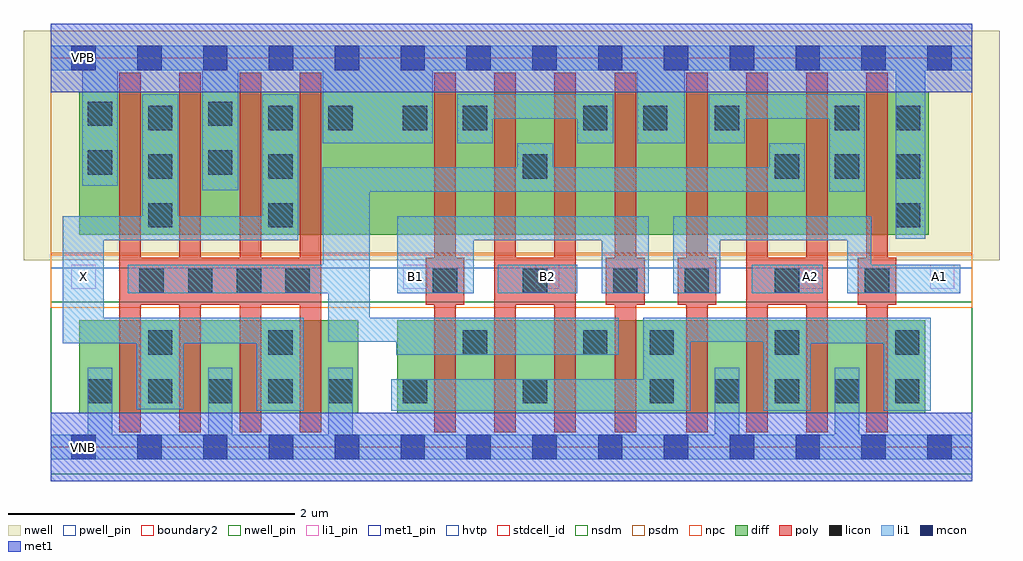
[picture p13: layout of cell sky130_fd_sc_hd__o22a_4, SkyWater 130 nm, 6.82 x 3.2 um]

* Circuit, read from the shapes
.subckt sky130_fd_sc_hd__o22a_4 A1 A2 B1 B2 VGND VNB VPB VPWR X
XM1 X n1 VGND VNB sky130_fd_pr__nfet_01v8 w=0.65 l=0.15 m=4
XM2 n1 B1 n2 VNB sky130_fd_pr__nfet_01v8 w=0.65 l=0.15 m=2
XM3 n2 B2 n1 VNB sky130_fd_pr__nfet_01v8 w=0.65 l=0.15 m=2
XM4 VGND A1 n2 VNB sky130_fd_pr__nfet_01v8 w=0.65 l=0.15 m=2
XM5 n2 A2 VGND VNB sky130_fd_pr__nfet_01v8 w=0.65 l=0.15 m=2
XM6 X n1 VPWR VPB sky130_fd_pr__pfet_01v8_hvt w=1 l=0.15 m=4
XM7 n3 B1 VPWR VPB sky130_fd_pr__pfet_01v8_hvt w=1 l=0.15 m=2
XM8 n1 B2 n3 VPB sky130_fd_pr__pfet_01v8_hvt w=1 l=0.15 m=2
XM9 n4 A1 VPWR VPB sky130_fd_pr__pfet_01v8_hvt w=1 l=0.15 m=2
XM10 n1 A2 n4 VPB sky130_fd_pr__pfet_01v8_hvt w=1 l=0.15 m=2
.ends

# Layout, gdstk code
import gdstk
lib = gdstk.Library(unit=1e-6, precision=1e-09)
def R(c, l, rs):  # rectangles x0, y0, x1, y1
    for r in rs: c.add(gdstk.rectangle(r[:2], r[2:], *l))
def A(c, l, x, y, w, h, nx, ny, dx, dy):  # array of equal rectangles
    R(c, l, [(x+i*dx, y+j*dy, x+i*dx+w, y+j*dy+h) for i in range(nx) for j in range(ny)])
def P(c, l, *ps):  # polygons
    for p in ps: c.add(gdstk.Polygon(p, *l))
nwell_pin = (64, 16)
nwell = (64, 20)
diff = (65, 20)
poly = (66, 20)
licon = (66, 44)
li1_pin = (67, 16)
li1 = (67, 20)
mcon = (67, 44)
met1_pin = (68, 16)
met1 = (68, 20)
hvtp = (78, 44)
stdcell_id = (81, 4)
nsdm = (93, 44)
psdm = (94, 20)
npc = (95, 20)
pwell_pin = (122, 16)
boundary2 = (236, 0)

sky130_fd_sc_hd__o22a_4 = lib.new_cell('sky130_fd_sc_hd__o22a_4')
R(sky130_fd_sc_hd__o22a_4, nwell_pin, [(0.145,2.635,0.315,2.805)])
R(sky130_fd_sc_hd__o22a_4, nwell, [(-0.19,1.305,6.63,2.91)])
R(sky130_fd_sc_hd__o22a_4, diff, [(0.2,0.235,2.15,0.885), (2.42,0.235,6.11,0.885), (0.2,1.485,6.135,2.485)])
P(sky130_fd_sc_hd__o22a_4, poly, [(2.89,1.325),(2.83,1.325),(2.83,2.615),(2.68,2.615),(2.68,1.325),(2.62,1.325),(2.62,0.995),(2.68,0.995),(2.68,0.105),(2.83,0.105),(2.83,0.995),(2.89,0.995)],
  [(3.67,2.615),(3.52,2.615),(3.52,1.325),(3.25,1.325),(3.25,2.615),(3.1,2.615),(3.1,0.105),(3.25,0.105),(3.25,0.995),(3.52,0.995),(3.52,0.105),(3.67,0.105)],
  [(4.65,1.325),(4.59,1.325),(4.59,2.615),(4.44,2.615),(4.44,1.325),(4.38,1.325),(4.38,0.995),(4.44,0.995),(4.44,0.105),(4.59,0.105),(4.59,0.995),(4.65,0.995)],
  [(5.91,1.325),(5.85,1.325),(5.85,2.615),(5.7,2.615),(5.7,1.325),(5.64,1.325),(5.64,0.995),(5.7,0.995),(5.7,0.105),(5.85,0.105),(5.85,0.995),(5.91,0.995)],
  [(1.89,2.615),(1.74,2.615),(1.74,1.325),(1.47,1.325),(1.47,2.615),(1.32,2.615),(1.32,1.325),(1.05,1.325),(1.05,2.615),(0.9,2.615),(0.9,1.325),(0.63,1.325),(0.63,2.615),(0.48,2.615),(0.48,0.105),(0.63,0.105),(0.63,0.995),(0.9,0.995),(0.9,0.105),(1.05,0.105),(1.05,0.995),(1.32,0.995),(1.32,0.105),(1.47,0.105),(1.47,0.995),(1.74,0.995),(1.74,0.105),(1.89,0.105)],
  [(4.15,1.325),(4.09,1.325),(4.09,2.615),(3.94,2.615),(3.94,1.325),(3.88,1.325),(3.88,0.995),(3.94,0.995),(3.94,0.105),(4.09,0.105),(4.09,0.995),(4.15,0.995)],
  [(5.43,2.615),(5.28,2.615),(5.28,1.325),(5.01,1.325),(5.01,2.615),(4.86,2.615),(4.86,0.105),(5.01,0.105),(5.01,0.995),(5.28,0.995),(5.28,0.105),(5.43,0.105)])
A(sky130_fd_sc_hd__o22a_4, licon, 0.26, 0.305, 0.17, 0.17, 5, 1, 0.42, 0)
A(sky130_fd_sc_hd__o22a_4, licon, 4.64, 0.305, 0.17, 0.17, 4, 1, 0.42, 0)
A(sky130_fd_sc_hd__o22a_4, licon, 0.62, 1.075, 0.17, 0.17, 4, 1, 0.34, 0)
A(sky130_fd_sc_hd__o22a_4, licon, 2.67, 1.075, 0.17, 0.17, 3, 1, 0.63, 0)
A(sky130_fd_sc_hd__o22a_4, licon, 4.43, 1.075, 0.17, 0.17, 3, 1, 0.63, 0)
A(sky130_fd_sc_hd__o22a_4, licon, 0.68, 1.535, 0.17, 0.17, 1, 3, 0, 0.34)
A(sky130_fd_sc_hd__o22a_4, licon, 1.52, 1.535, 0.17, 0.17, 1, 3, 0, 0.34)
A(sky130_fd_sc_hd__o22a_4, licon, 5.905, 1.535, 0.17, 0.17, 1, 3, 0, 0.34)
R(sky130_fd_sc_hd__o22a_4, licon, [(2.46,0.305,2.63,0.475), (3.3,0.305,3.47,0.475), (4.185,0.305,4.355,0.475), (0.68,0.645,0.85,0.815), (1.52,0.645,1.69,0.815), (2.88,0.645,3.05,0.815), (3.72,0.645,3.89,0.815), (4.185,0.645,4.355,0.815), (5.06,0.645,5.23,0.815), (5.9,0.645,6.07,0.815), (3.3,1.875,3.47,2.045), (5.06,1.875,5.23,2.045), (5.48,1.875,5.65,2.045), (0.26,1.905,0.43,2.075), (1.1,1.905,1.27,2.075), (1.94,2.215,2.11,2.385), (2.46,2.215,2.63,2.385), (2.88,2.215,3.05,2.385), (3.72,2.215,3.89,2.385), (4.14,2.215,4.31,2.385), (4.64,2.215,4.81,2.385), (5.48,2.215,5.65,2.385), (0.26,2.245,0.43,2.415), (1.1,2.245,1.27,2.415)])
R(sky130_fd_sc_hd__o22a_4, li1_pin, [(0.145,1.105,0.315,1.275), (2.465,1.105,2.635,1.275), (3.385,1.105,3.555,1.275), (5.225,1.105,5.395,1.275), (6.145,1.105,6.315,1.275)])
R(sky130_fd_sc_hd__o22a_4, li1, [(3.125,1.075,3.68,1.275), (4.9,1.075,5.395,1.275)])
P(sky130_fd_sc_hd__o22a_4, li1, [(6.44,0.085),(5.65,0.085),(5.65,0.555),(5.48,0.555),(5.48,0.085),(4.81,0.085),(4.81,0.555),(4.64,0.555),(4.64,0.085),(2.11,0.085),(2.11,0.555),(1.94,0.555),(1.94,0.085),(1.27,0.085),(1.27,0.555),(1.1,0.555),(1.1,0.085),(0.43,0.085),(0.43,0.555),(0.26,0.555),(0.26,0.085),(0,0.085),(0,-0.085),(6.44,-0.085)],
  [(6.355,1.275),(5.735,1.275),(5.735,1.615),(4.35,1.615),(4.35,1.075),(4.68,1.075),(4.68,1.445),(5.565,1.445),(5.565,1.075),(6.355,1.075)],
  [(6.15,0.905),(4.14,0.905),(4.14,0.475),(2.38,0.475),(2.38,0.255),(4.47,0.255),(4.47,0.735),(4.98,0.735),(4.98,0.255),(5.31,0.255),(5.31,0.725),(5.82,0.725),(5.82,0.255),(6.15,0.255)],
  [(3.93,2.465),(2.84,2.465),(2.84,2.125),(3.09,2.125),(3.09,2.295),(3.68,2.295),(3.68,2.125),(3.93,2.125)],
  [(5.27,2.125),(5.02,2.125),(5.02,1.955),(3.51,1.955),(3.51,2.125),(3.26,2.125),(3.26,1.955),(1.9,1.955),(1.9,1.275),(0.54,1.275),(0.54,1.075),(1.94,1.075),(1.94,0.735),(2.415,0.735),(2.415,0.645),(3.97,0.645),(3.97,0.905),(2.23,0.905),(2.23,1.785),(5.27,1.785)],
  [(5.69,2.465),(4.6,2.465),(4.6,2.125),(4.85,2.125),(4.85,2.295),(5.44,2.295),(5.44,1.785),(5.69,1.785)],
  [(6.44,2.805),(0,2.805),(0,2.635),(0.22,2.635),(0.22,1.825),(0.47,1.825),(0.47,2.635),(1.06,2.635),(1.06,1.795),(1.31,1.795),(1.31,2.635),(1.9,2.635),(1.9,2.125),(2.67,2.125),(2.67,2.635),(4.1,2.635),(4.1,2.125),(4.43,2.125),(4.43,2.635),(5.905,2.635),(5.905,1.455),(6.11,1.455),(6.11,2.635),(6.44,2.635)],
  [(1.77,0.905),(0.37,0.905),(0.37,1.445),(1.73,1.445),(1.73,2.465),(1.48,2.465),(1.48,1.615),(0.89,1.615),(0.89,2.465),(0.64,2.465),(0.64,1.615),(0.085,1.615),(0.085,0.725),(0.6,0.725),(0.6,0.265),(0.93,0.265),(0.93,0.725),(1.44,0.725),(1.44,0.255),(1.77,0.255)],
  [(4.18,1.615),(2.42,1.615),(2.42,1.075),(2.955,1.075),(2.955,1.445),(3.85,1.445),(3.85,1.075),(4.18,1.075)])
A(sky130_fd_sc_hd__o22a_4, mcon, 0.145, -0.085, 0.17, 0.17, 14, 2, 0.46, 2.72)
R(sky130_fd_sc_hd__o22a_4, met1_pin, [(0.145,-0.085,0.315,0.085), (0.145,2.635,0.315,2.805)])
R(sky130_fd_sc_hd__o22a_4, hvtp, [(0,1.25,6.44,2.72)])
R(sky130_fd_sc_hd__o22a_4, stdcell_id, [(0,0,6.44,2.72)])
R(sky130_fd_sc_hd__o22a_4, nsdm, [(0,-0.19,6.44,1.015)])
R(sky130_fd_sc_hd__o22a_4, psdm, [(0,1.355,6.44,2.91)])
R(sky130_fd_sc_hd__o22a_4, npc, [(0,0.975,6.44,1.345)])
R(sky130_fd_sc_hd__o22a_4, pwell_pin, [(0.145,-0.085,0.315,0.085)])
R(sky130_fd_sc_hd__o22a_4, boundary2, [(0,0,6.44,2.72)])
sky130_fd_sc_hd__o22a_4.add(gdstk.FlexPath([(0,2.72),(6.44,2.72)], 0.48, ends="flush", simple_path=True, layer=68, datatype=20))  # met1
sky130_fd_sc_hd__o22a_4.add(gdstk.FlexPath([(0,0),(6.44,0)], 0.48, ends="flush", simple_path=True, layer=68, datatype=20))  # met1
sky130_fd_sc_hd__o22a_4.add(gdstk.Label('B2', (3.47,1.19), layer=67, texttype=5))
sky130_fd_sc_hd__o22a_4.add(gdstk.Label('B1', (2.55,1.19), layer=67, texttype=5))
sky130_fd_sc_hd__o22a_4.add(gdstk.Label('X', (0.23,1.19), layer=67, texttype=5))
sky130_fd_sc_hd__o22a_4.add(gdstk.Label('A1', (6.21,1.19), layer=67, texttype=5))
sky130_fd_sc_hd__o22a_4.add(gdstk.Label('A2', (5.31,1.19), layer=67, texttype=5))
sky130_fd_sc_hd__o22a_4.add(gdstk.Label('VNB', (0.23,0), layer=64, texttype=59))
sky130_fd_sc_hd__o22a_4.add(gdstk.Label('VPB', (0.23,2.72), layer=64, texttype=5))
sky130_fd_sc_hd__o22a_4.add(gdstk.Label('VGND', (0.23,0), layer=68, texttype=5))
sky130_fd_sc_hd__o22a_4.add(gdstk.Label('VPWR', (0.23,2.72), layer=68, texttype=5))
sky130_fd_sc_hd__o22a_4.add(gdstk.Label('o22a_4', (0,0), layer=83, texttype=44))

lib.write_gds('sky130_fd_sc_hd__o22a_4.gds')
